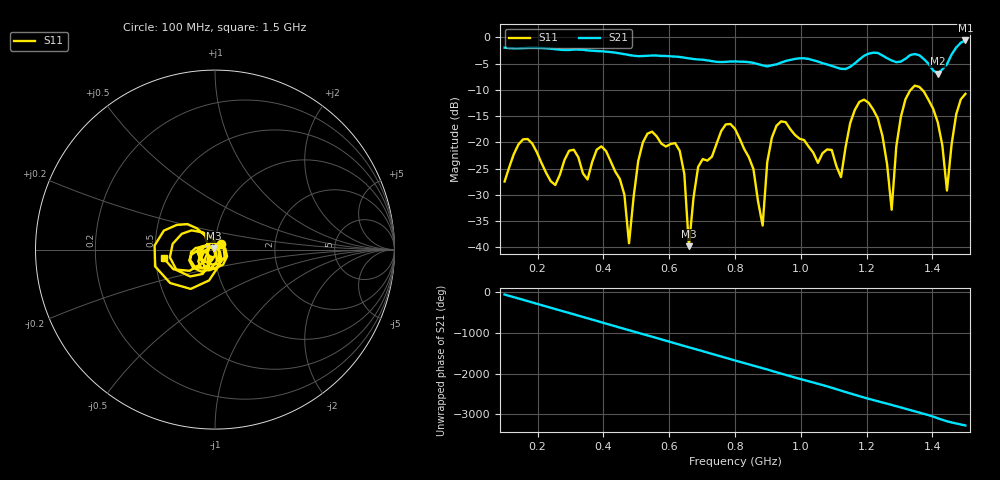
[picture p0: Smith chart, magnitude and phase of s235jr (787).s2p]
! NanoVNA-App
! Date: 2025-09-25 15:10:18
! Start: 100MHz Stop: 1,5GHz Points: 101
! S-Parameter data: F S11 S21 S12 S22
# Hz S RI R 50
!  Frequency  S11_Real  S11_Imag  S21_Real  S21_Imag  S12_Real  S12_Imag  S22_Real  S22_Imag
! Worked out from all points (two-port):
!   101 points, 100 MHz to 1.5 GHz, reference 50 ohm
!   highest |S21| = -0.59 dB at 1.5 GHz (marker M1); lowest = -6.9 dB at 1.416 GHz (marker M2)
!   |S21| within 3 dB of the highest: start of sweep to 598.1 MHz; 1.191 GHz to 1.252 GHz (61.11 MHz wide, 5 % of centre) (the widest 2 of 4)
!   lowest |S11| = -39.8 dB at 660 MHz (marker M3), VSWR 1.02, Z = 49.2 + j0.626 ohm
!   |S11| at or under -10 dB: start of sweep to 1.334 GHz; 1.369 GHz to end of sweep
!   S12 and S22 are empty: the file has one direction only
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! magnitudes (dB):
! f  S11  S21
! 100 MHz  -27.5  -2.0
! 156 MHz  -19.4  -2.1
! 338 MHz  -25.9  -2.4
! 408 MHz  -21.6  -2.7
! 478 MHz  -39.2  -3.4
! 520 MHz  -20.0  -3.6
! 576 MHz  -20.2  -3.5
! 632 MHz  -21.6  -3.7
! 660 MHz  -39.8  -4.0
! 688 MHz  -24.7  -4.2
! 800 MHz  -17.4  -4.6
! 884 MHz  -35.9  -5.3
! 926 MHz  -16.8  -5.2
! 1.038 GHz  -22.0  -4.4
! 1.122 GHz  -26.6  -6.0
! 1.206 GHz  -12.5  -3.1
! 1.248 GHz  -18.8  -3.5
! 1.276 GHz  -32.9  -4.4
! 1.318 GHz  -11.8  -4.1
! 1.416 GHz  -16.2  -6.9
! 1.444 GHz  -29.2  -5.1
! 1.5 GHz  -10.8  -0.6
